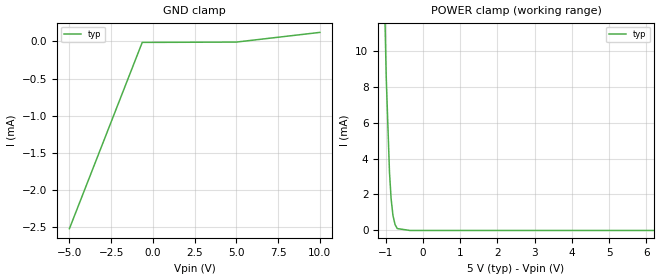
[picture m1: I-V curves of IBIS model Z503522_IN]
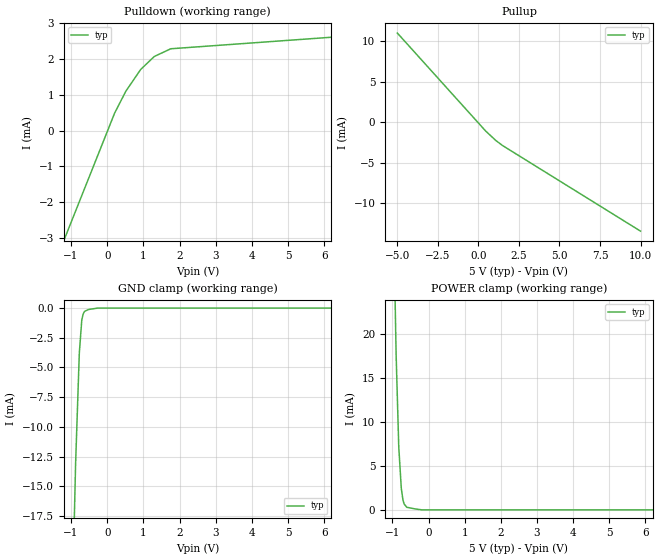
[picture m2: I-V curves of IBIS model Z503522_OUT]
| YOU ARE ONLY AUTHORIZED TO USE THIS SOFTWARE
| ACCORDING TO LICENSOR'S LICENSE RESTRICTIONS.
[IBIS Ver] 3.1
[File Name] mc14035bcl.ibs
[File Rev] 2.0
[Source] Measured and created by ICX Technology
[Date] Friday 7/14/00 9:07:52 AM
[Copyright]
| (C) COPYRIGHT 1993-2000
| MENTOR GRAPHICS CORPORATION
| ICX STANDARD LIBRARY, ICX PROJECT MODELING,
| ICX CUSTOM MODELING, ICX VENDOR MODEL
| ALL RIGHTS RESERVED.
| THE FOLLOWING ARE TRADEMARKS OR SERVICE MARKS OF
| MENTOR GRAPHICS CORPORATION:ICX (R), ICX STANDARD
| LIBRARY(R), ICX PROJECT MODELING(R), ICX CUSTOM
| MODELING(R), qualityIBIS(TM), MODELVIEWER(TM),
| AND MODELEDITOR(TM)
| ALL COPIES OF SOFTWARE, INCLUDING BUT NOT LIMITED TO
| ANY MODIFICATIONS, ENHANCEMENTS OR DERIVATIVE WORKS,
| MUST CONTAIN ALL MENTOR GRAPHICS CORPORATION'S
| NOTICES AND LEGENDS, INCLUDING THOSE EMBEDDED IN
| SOFTWARE AND THOSE AFFIXED TO SOFTWARE MEDIUM
| AND CONTAINER, AS RECEIVED FROM MENTOR GRAPHICS
| CORPORATION.
|  ZAP Model Builder 2.7
[Component] MC14035BCL
[Manufacturer] OnSemiconductor
[Package]
| variable   typ   min   max
R_pkg  .212ohms NA NA
L_pkg  4.758nH NA NA
C_pkg  1.944pF NA NA
[Pin] signal_name  model_name  R_pin  L_pin C_pin
1 Q0 Z503522_OUT .224 7.258n 2.683p
2 T_C Z503522_IN .216 5.258n 2.19p
3 _K Z503522_IN .208 3.758n 1.697p
4 J Z503522_IN .2 2.758n 1.204p
5 R Z503522_IN .2 2.758n 1.204p
6 C Z503522_IN .208 3.758n 1.697p
7 P/S Z503522_IN .216 5.258n 2.19p
8 VSS POWER .224 7.258n 2.683p
9 DP0 Z503522_IN .224 7.258n 2.683p
10 DP1 Z503522_IN .216 5.258n 2.19p
11 DP2 Z503522_IN .208 3.758n 1.697p
12 DP3 Z503522_IN .2 2.758n 1.204p
13 Q3 Z503522_OUT .2 2.758n 1.204p
14 Q2 Z503522_OUT .208 3.758n 1.697p
15 Q1 Z503522_OUT .216 5.258n 2.19p
16 VDD POWER .224 7.258n 2.683p
| Models and submodels in the file (2): Z503522_IN (Input), Z503522_OUT (Output)
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| (C) COPYRIGHT 1993-2000
| MENTOR GRAPHICS CORPORATION
| ICX STANDARD LIBRARY, ICX PROJECT MODELING,
| ICX CUSTOM MODELING, ICX VENDOR MODEL
| ALL RIGHTS RESERVED.
| THE FOLLOWING ARE TRADEMARKS OR SERVICE MARKS OF
| MENTOR GRAPHICS CORPORATION:ICX (R), ICX STANDARD
| LIBRARY(R), ICX PROJECT MODELING(R), ICX CUSTOM
| MODELING(R), qualityIBIS(TM), MODELVIEWER(TM),
| AND MODELEDITOR(TM)
| ALL COPIES OF SOFTWARE, INCLUDING BUT NOT LIMITED TO
| ANY MODIFICATIONS, ENHANCEMENTS OR DERIVATIVE WORKS,
| MUST CONTAIN ALL MENTOR GRAPHICS CORPORATION'S
| NOTICES AND LEGENDS, INCLUDING THOSE EMBEDDED IN
| SOFTWARE AND THOSE AFFIXED TO SOFTWARE MEDIUM
| AND CONTAINER, AS RECEIVED FROM MENTOR GRAPHICS
| CORPORATION.
| Model Application Version 1.89 2/18/99.
[Model] Z503522_IN
Model_type Input
Vinl = 1.500V
Vinh = 3.500V
C_comp 4.000pF NA NA
| variable typ   min   max
[Voltage Range] 5.000V NA NA
[GND Clamp Reference] 0.000V NA NA
[POWER Clamp Reference] 5.000V NA NA
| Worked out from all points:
|   POWER clamp passes 1 mA (typ) near -0.81 V on its own axis
[GND Clamp]
-5V       -2.519mA   NA         NA
-640mV    -14.46uA   NA         NA
4.995V    -10.07uA   NA         NA
10V       120.2uA    NA         NA
[POWER Clamp]
-5V       395.5mA    NA         NA
-986mV    8.546mA    NA         NA
-898mV    3.235mA    NA         NA
-854mV    1.759mA    NA         NA
-804mV    820uA      NA         NA
-747mV    320.2uA    NA         NA
-689mV    104.6uA    NA         NA
-344.5mV  0A         NA         NA
10V       0A         NA         NA
| (C) COPYRIGHT 1993-2000
| MENTOR GRAPHICS CORPORATION
| ICX STANDARD LIBRARY, ICX PROJECT MODELING,
| ICX CUSTOM MODELING, ICX VENDOR MODEL
| ALL RIGHTS RESERVED.
| THE FOLLOWING ARE TRADEMARKS OR SERVICE MARKS OF
| MENTOR GRAPHICS CORPORATION:ICX (R), ICX STANDARD
| LIBRARY(R), ICX PROJECT MODELING(R), ICX CUSTOM
| MODELING(R), qualityIBIS(TM), MODELVIEWER(TM),
| AND MODELEDITOR(TM)
| ALL COPIES OF SOFTWARE, INCLUDING BUT NOT LIMITED TO
| ANY MODIFICATIONS, ENHANCEMENTS OR DERIVATIVE WORKS,
| MUST CONTAIN ALL MENTOR GRAPHICS CORPORATION'S
| NOTICES AND LEGENDS, INCLUDING THOSE EMBEDDED IN
| SOFTWARE AND THOSE AFFIXED TO SOFTWARE MEDIUM
| AND CONTAINER, AS RECEIVED FROM MENTOR GRAPHICS
| CORPORATION.
| Model Application Version 1.89 2/18/99.
[Model] Z503522_OUT
Model_type Output
Vref=0.000V
Rref=500.0Mohms
Cref=50.00pF
Vmeas=2.500V
C_comp 8.000pF NA NA
| variable typ   min   max
[Voltage Range] 5.000V NA NA
[POWER Clamp Reference] 5.000V NA NA
[Pullup Reference] 5.000V NA NA
[Pulldown Reference] 0.000V NA NA
[GND Clamp Reference] 0.000V NA NA
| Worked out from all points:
|   slope of the pulldown table from 0 to 0.75 V, typ, clamps not added: 507 ohm
|   slope of the pullup table from 0 to 0.75 V, typ, clamps not added: 481 ohm
|   GND clamp passes 1 mA (typ) near -0.70 V on its own axis
|   POWER clamp passes 1 mA (typ) near -0.70 V on its own axis
[GND Clamp]
-5V       -546.5mA   NA         NA
-873.9mV  -13.07mA   NA         NA
-771.3mV  -3.778mA   NA         NA
-703mV    -996.8uA   NA         NA
-664.1mV  -492.5uA   NA         NA
-627.1mV  -278.4uA   NA         NA
-517.5mV  -118.4uA   NA         NA
-258.7mV  0A         NA         NA
10V       0A         NA         NA
[Pulldown]
-5V       -12.72mA   NA         NA
205.1mV   486.7uA    NA         NA
516.1mV   1.1mA      NA         NA
927.6mV   1.71mA     NA         NA
1.304V    2.071mA    NA         NA
1.759V    2.286mA    NA         NA
10V       2.884mA    NA         NA
[Pullup]
-5V       11.02mA    NA         NA
449mV     -1.086mA   NA         NA
1.074V    -2.25mA    NA         NA
1.489V    -2.876mA   NA         NA
10V       -13.45mA   NA         NA
[POWER Clamp]
-5V       933.8mA    NA         NA
-897mV    17.67mA    NA         NA
-824mV    7.171mA    NA         NA
-754mV    2.451mA    NA         NA
-708mV    1.111mA    NA         NA
-674mV    653.4uA    NA         NA
-601mV    292.6uA    NA         NA
-371mV    105.8uA    NA         NA
-185.5mV  0A         NA         NA
10V       0A         NA         NA
[Ramp]
| variable typ min max
dV/dt_r 2.529/46.62n NA NA
dV/dt_f 2.529/30.07n NA NA
R_load = 2.500kOhms
